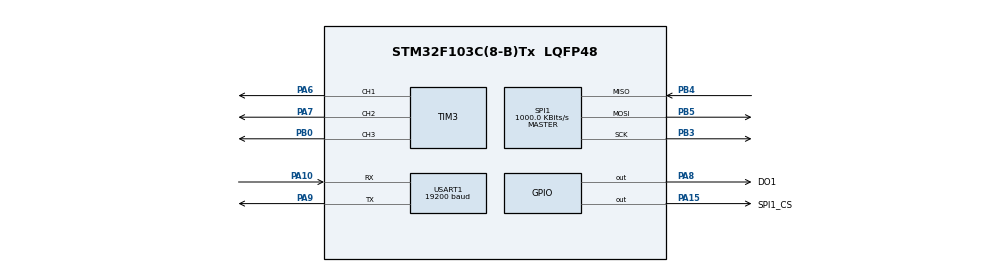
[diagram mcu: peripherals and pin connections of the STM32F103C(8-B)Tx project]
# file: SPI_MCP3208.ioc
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Mcu.Family=STM32F1
Mcu.Name=STM32F103C(8-B)Tx
Mcu.Package=LQFP48
NVIC.PriorityGroup=NVIC_PRIORITYGROUP_4
PA10.Mode=Asynchronous
PA10.Signal=USART1_RX
PA13.Mode=Serial_Wire
PA13.Signal=SYS_JTMS-SWDIO
PA14.Mode=Serial_Wire
PA14.Signal=SYS_JTCK-SWCLK
PA15.GPIO_Label=SPI1_CS
PA15.Signal=GPIO_Output
PA6.Signal=S_TIM3_CH1
PA7.Signal=S_TIM3_CH2
PA8.GPIO_Label=DO1
PA8.Signal=GPIO_Output
PA9.Mode=Asynchronous
PA9.Signal=USART1_TX
PB0.Signal=S_TIM3_CH3
PB3.Mode=Full_Duplex_Master
PB3.Signal=SPI1_SCK
PB4.Mode=Full_Duplex_Master
PB4.Signal=SPI1_MISO
PB5.Mode=Full_Duplex_Master
PB5.Signal=SPI1_MOSI
ProjectManager.HeapSize=0x200
ProjectManager.StackSize=0x400
ProjectManager.TargetToolchain=MDK-ARM V5.32
RCC.APB1Freq_Value=8000000
RCC.APB2Freq_Value=8000000
SH.S_TIM3_CH1.0=TIM3_CH1,PWM Generation1 CH1
SH.S_TIM3_CH2.0=TIM3_CH2,PWM Generation2 CH2
SH.S_TIM3_CH3.0=TIM3_CH3,PWM Generation3 CH3
SPI1.BaudRatePrescaler=SPI_BAUDRATEPRESCALER_8
SPI1.CalculateBaudRate=1000.0 KBits/s
SPI1.Direction=SPI_DIRECTION_2LINES
SPI1.Mode=SPI_MODE_MASTER
SPI1.VirtualType=VM_MASTER
TIM3.Channel-PWM\ Generation1\ CH1=TIM_CHANNEL_1
TIM3.Channel-PWM\ Generation2\ CH2=TIM_CHANNEL_2
TIM3.Channel-PWM\ Generation3\ CH3=TIM_CHANNEL_3
USART1.BaudRate=19200
USART1.VirtualMode=VM_ASYNC
board=custom

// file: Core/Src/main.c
/* USER CODE BEGIN Header */
/**
  ******************************************************************************
  * @file           : main.c
  * @brief          : Main program body
  ******************************************************************************
  * @attention
  *
  * <h2><center>&copy; Copyright (c) 2022 STMicroelectronics.
  * All rights reserved.</center></h2>
  *
  * This software component is licensed by ST under BSD 3-Clause license,
  * the "License"; You may not use this file except in compliance with the
  * License. You may obtain a copy of the License at:
  *                        opensource.org/licenses/BSD-3-Clause
  *
  ******************************************************************************
  */
/* USER CODE END Header */
#include "main.h"

/* USER CODE BEGIN PTD */
uint16_t adc_val;
float volt;
float volt1;
uint8_t rev[2];
/* USER CODE END PTD */

SPI_HandleTypeDef hspi1;

TIM_HandleTypeDef htim3;

UART_HandleTypeDef huart1;

void SystemClock_Config(void);
static void MX_GPIO_Init(void);
static void MX_SPI1_Init(void);
static void MX_TIM3_Init(void);
static void MX_USART1_UART_Init(void);

int main(void)
{

  /* MCU Configuration--------------------------------------------------------*/

  /* Reset of all peripherals, Initializes the Flash interface and the Systick. */
  HAL_Init();

  /* Configure the system clock */
  SystemClock_Config();

  /* Initialize all configured peripherals */
  MX_GPIO_Init();
  MX_SPI1_Init();
  MX_TIM3_Init();
  MX_USART1_UART_Init();
  /* USER CODE BEGIN 2 */
  HAL_GPIO_WritePin(SPI1_CS_GPIO_Port,SPI1_CS_Pin,GPIO_PIN_SET);

  /* USER CODE END 2 */

  /* Infinite loop */
  /* USER CODE BEGIN WHILE */
  while (1)
  {
	  HAL_UART_Transmit(&huart1,(uint8_t*)"Hello",sizeof("Hello"),100);
	  uint8_t channel = 0x6C;
	  HAL_GPIO_WritePin(SPI1_CS_GPIO_Port,SPI1_CS_Pin,GPIO_PIN_RESET);
	  HAL_SPI_Transmit(&hspi1,&channel,sizeof(channel),10);
	  HAL_SPI_Receive(&hspi1,rev,sizeof(rev),10);
	  HAL_GPIO_WritePin(SPI1_CS_GPIO_Port,SPI1_CS_Pin,GPIO_PIN_SET);
	  adc_val = (rev[0]<<4)|rev[1];
	  volt = (float)(adc_val*4.096/4096);
	  volt1 = (4.096*volt)/5.0;
	  HAL_Delay(1000);
    /* USER CODE END WHILE */

  }
}

void SystemClock_Config(void)
{
  RCC_OscInitTypeDef RCC_OscInitStruct = {0};
  RCC_ClkInitTypeDef RCC_ClkInitStruct = {0};

  /** Initializes the RCC Oscillators according to the specified parameters
  * in the RCC_OscInitTypeDef structure.
  */
  RCC_OscInitStruct.OscillatorType = RCC_OSCILLATORTYPE_HSI;
  RCC_OscInitStruct.HSIState = RCC_HSI_ON;
  RCC_OscInitStruct.HSICalibrationValue = RCC_HSICALIBRATION_DEFAULT;
  RCC_OscInitStruct.PLL.PLLState = RCC_PLL_NONE;
  if (HAL_RCC_OscConfig(&RCC_OscInitStruct) != HAL_OK)
  {
    Error_Handler();
  }
  /** Initializes the CPU, AHB and APB buses clocks
  */
  RCC_ClkInitStruct.ClockType = RCC_CLOCKTYPE_HCLK|RCC_CLOCKTYPE_SYSCLK
                              |RCC_CLOCKTYPE_PCLK1|RCC_CLOCKTYPE_PCLK2;
  RCC_ClkInitStruct.SYSCLKSource = RCC_SYSCLKSOURCE_HSI;
  RCC_ClkInitStruct.AHBCLKDivider = RCC_SYSCLK_DIV1;
  RCC_ClkInitStruct.APB1CLKDivider = RCC_HCLK_DIV1;
  RCC_ClkInitStruct.APB2CLKDivider = RCC_HCLK_DIV1;

  if (HAL_RCC_ClockConfig(&RCC_ClkInitStruct, FLASH_LATENCY_0) != HAL_OK)
  {
    Error_Handler();
  }
}

static void MX_SPI1_Init(void)
{

  /* SPI1 parameter configuration*/
  hspi1.Instance = SPI1;
  hspi1.Init.Mode = SPI_MODE_MASTER;
  hspi1.Init.Direction = SPI_DIRECTION_2LINES;
  hspi1.Init.DataSize = SPI_DATASIZE_8BIT;
  hspi1.Init.CLKPolarity = SPI_POLARITY_LOW;
  hspi1.Init.CLKPhase = SPI_PHASE_1EDGE;
  hspi1.Init.NSS = SPI_NSS_SOFT;
  hspi1.Init.BaudRatePrescaler = SPI_BAUDRATEPRESCALER_8;
  hspi1.Init.FirstBit = SPI_FIRSTBIT_MSB;
  hspi1.Init.TIMode = SPI_TIMODE_DISABLE;
  hspi1.Init.CRCCalculation = SPI_CRCCALCULATION_DISABLE;
  hspi1.Init.CRCPolynomial = 10;
  if (HAL_SPI_Init(&hspi1) != HAL_OK)
  {
    Error_Handler();
  }

}

static void MX_TIM3_Init(void)
{

  TIM_MasterConfigTypeDef sMasterConfig = {0};
  TIM_OC_InitTypeDef sConfigOC = {0};

  htim3.Instance = TIM3;
  htim3.Init.Prescaler = 0;
  htim3.Init.CounterMode = TIM_COUNTERMODE_UP;
  htim3.Init.Period = 65535;
  htim3.Init.ClockDivision = TIM_CLOCKDIVISION_DIV1;
  htim3.Init.AutoReloadPreload = TIM_AUTORELOAD_PRELOAD_DISABLE;
  if (HAL_TIM_PWM_Init(&htim3) != HAL_OK)
  {
    Error_Handler();
  }
  sMasterConfig.MasterOutputTrigger = TIM_TRGO_RESET;
  sMasterConfig.MasterSlaveMode = TIM_MASTERSLAVEMODE_DISABLE;
  if (HAL_TIMEx_MasterConfigSynchronization(&htim3, &sMasterConfig) != HAL_OK)
  {
    Error_Handler();
  }
  sConfigOC.OCMode = TIM_OCMODE_PWM1;
  sConfigOC.Pulse = 0;
  sConfigOC.OCPolarity = TIM_OCPOLARITY_HIGH;
  sConfigOC.OCFastMode = TIM_OCFAST_DISABLE;
  if (HAL_TIM_PWM_ConfigChannel(&htim3, &sConfigOC, TIM_CHANNEL_1) != HAL_OK)
  {
    Error_Handler();
  }
  if (HAL_TIM_PWM_ConfigChannel(&htim3, &sConfigOC, TIM_CHANNEL_2) != HAL_OK)
  {
    Error_Handler();
  }
  if (HAL_TIM_PWM_ConfigChannel(&htim3, &sConfigOC, TIM_CHANNEL_3) != HAL_OK)
  {
    Error_Handler();
  }
  HAL_TIM_MspPostInit(&htim3);

}

static void MX_USART1_UART_Init(void)
{

  huart1.Instance = USART1;
  huart1.Init.BaudRate = 19200;
  huart1.Init.WordLength = UART_WORDLENGTH_8B;
  huart1.Init.StopBits = UART_STOPBITS_1;
  huart1.Init.Parity = UART_PARITY_NONE;
  huart1.Init.Mode = UART_MODE_TX_RX;
  huart1.Init.HwFlowCtl = UART_HWCONTROL_NONE;
  huart1.Init.OverSampling = UART_OVERSAMPLING_16;
  if (HAL_UART_Init(&huart1) != HAL_OK)
  {
    Error_Handler();
  }

}

static void MX_GPIO_Init(void)
{
  GPIO_InitTypeDef GPIO_InitStruct = {0};

  /* GPIO Ports Clock Enable */
  __HAL_RCC_GPIOA_CLK_ENABLE();
  __HAL_RCC_GPIOB_CLK_ENABLE();

  /*Configure GPIO pin Output Level */
  HAL_GPIO_WritePin(GPIOA, DO1_Pin|SPI1_CS_Pin, GPIO_PIN_RESET);

  /*Configure GPIO pins : DO1_Pin SPI1_CS_Pin */
  GPIO_InitStruct.Pin = DO1_Pin|SPI1_CS_Pin;
  GPIO_InitStruct.Mode = GPIO_MODE_OUTPUT_PP;
  GPIO_InitStruct.Pull = GPIO_NOPULL;
  GPIO_InitStruct.Speed = GPIO_SPEED_FREQ_LOW;
  HAL_GPIO_Init(GPIOA, &GPIO_InitStruct);

}

void Error_Handler(void)
{
  __disable_irq();
  while (1)
  {
  }
}

/************************ (C) COPYRIGHT STMicroelectronics *****END OF FILE****/
